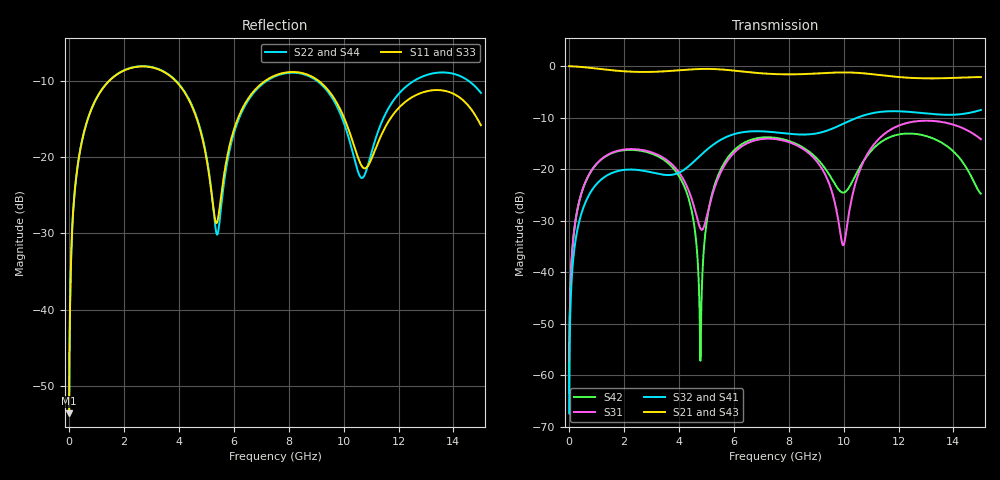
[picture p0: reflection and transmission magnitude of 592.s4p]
! Created with skrf 1.8.0 (http://scikit-rf.org).
# GHz S RI R 50.0
!freq ReS11 ImS11 ReS12 ImS12 ReS13 ImS13
! ReS14 ImS14
! ReS21 ImS21 ReS22 ImS22 ReS23 ImS23
! ReS24 ImS24
! ReS31 ImS31 ReS32 ImS32 ReS33 ImS33
! ReS34 ImS34
! ReS41 ImS41 ReS42 ImS42 ReS43 ImS43
! ReS44 ImS44
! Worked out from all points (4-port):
!   2499 points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, 5 MHz to 15 GHz, reference 50 ohm
!   strongest paths, dB at 5 MHz, 3.476 GHz, 7.19 GHz, 11.1 GHz, 15 GHz:
!     S21: 0.0, -1.0, -1.5, -1.6, -2.1
!     S43: 0.0, -1.0, -1.5, -1.6, -2.1
!     S32: -67.4, -21.1, -12.7, -9.1, -8.5
!     S41: -67.4, -21.2, -12.7, -9.1, -8.5
!     S31: -63.4, -17.9, -14.1, -15.3, -14.2
!     S42: -63.4, -18.3, -13.8, -15.9, -24.8
!   lowest |S11| = -53.6 dB at 5 MHz (marker M1), VSWR 1.00, Z = 50.2 + j0.127 ohm
!   |S11| at or under -10 dB: start of sweep to 1.467 GHz; 3.88 GHz to 7.151 GHz (3.271 GHz wide, 59.3 % of centre); 9.086 GHz to end of sweep
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0.005  0.00167 0.00127  0.9983 -0.00325  8.41e-05 0.000668  -8.16e-05 -0.000418
       0.9983 -0.00325  0.00167 0.00127  -8.16e-05 -0.000418  8.4e-05 0.000668
       8.41e-05 0.000668  -8.16e-05 -0.000418  0.00167 0.00127  0.9983 -0.00325
       -8.16e-05 -0.000418  8.4e-05 0.000668  0.9983 -0.00325  0.00167 0.00127
0.3126303  0.0247 0.0832  0.9662 -0.2019  0.0116 0.0395  -0.00954 -0.0245
           0.9662 -0.2019  0.0248 0.0832  -0.00954 -0.0245  0.0113 0.0396
           0.0116 0.0395  -0.00954 -0.0245  0.0247 0.0832  0.9662 -0.2019
           -0.00954 -0.0245  0.0113 0.0396  0.9662 -0.2019  0.0248 0.0832
1.569404  0.2782 0.1754  0.5301 -0.7407  0.1332 0.0558  -0.0917 -0.00318
          0.5301 -0.7407  0.2796 0.1745  -0.0918 -0.00307  0.129 0.0619
          0.1332 0.0558  -0.0918 -0.00307  0.2783 0.1755  0.53 -0.7407
          -0.0917 -0.00318  0.129 0.0619  0.53 -0.7407  0.2797 0.1745
4.789496  0.0791 -0.1249  -0.8513 -0.3923  -0.0235 -0.0122  -0.0536 0.1247
          -0.8513 -0.3923  0.075 -0.1312  -0.0521 0.1254  0.00118 0.000715
          -0.0235 -0.0122  -0.0521 0.1254  0.0804 -0.1257  -0.851 -0.3924
          -0.0536 0.1247  0.00118 0.000715  -0.851 -0.3924  0.0749 -0.1327
5.652355  0.052 0.0577  -0.9179 0.0972  0.0209 0.1054  0.032 0.1979
          -0.9179 0.0972  0.0448 0.0529  0.0342 0.1976  0.0449 0.1052
          0.0209 0.1054  0.0342 0.1976  0.0527 0.056  -0.918 0.0972
          0.032 0.1979  0.0449 0.1052  -0.918 0.0972  0.044 0.0519
8.365986  0.3563 -0.0417  0.0108 0.8334  0.1464 -0.0787  0.2054 -0.0663
          0.0108 0.8334  0.3524 -0.0419  0.2052 -0.0704  0.1455 -0.0898
          0.1464 -0.0787  0.2052 -0.0704  0.3562 -0.0427  0.0121 0.8331
          0.2054 -0.0663  0.1455 -0.0898  0.0121 0.8331  0.3537 -0.0423
15  0.1523 -0.0544  -0.4457 -0.6428  -0.0578 -0.1866  -0.2989 0.2249
    -0.4457 -0.6428  0.2021 -0.169  -0.2925 0.2347  0.054 0.0205
    -0.0578 -0.1866  -0.2925 0.2347  0.1545 -0.0583  -0.4496 -0.6387
    -0.2989 0.2249  0.054 0.0205  -0.4496 -0.6387  0.2077 -0.1706
